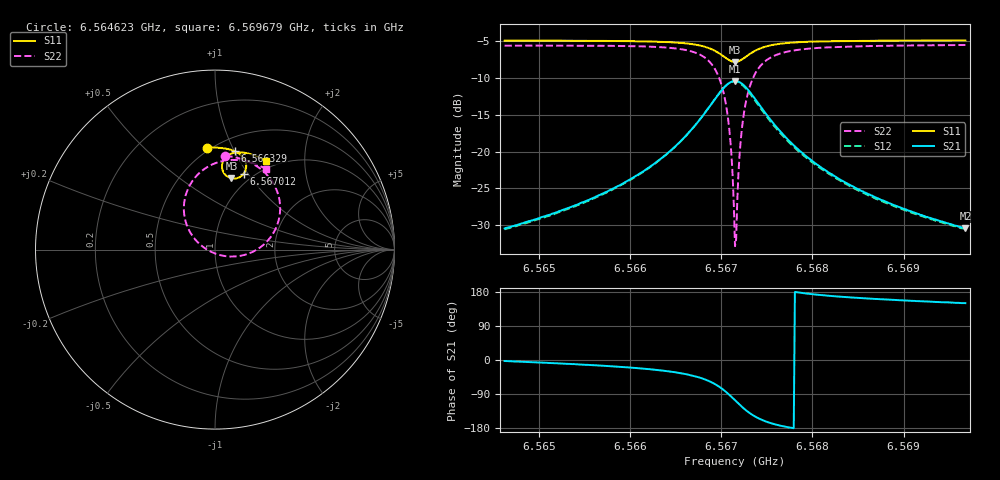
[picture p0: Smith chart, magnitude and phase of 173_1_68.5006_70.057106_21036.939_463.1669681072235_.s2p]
#  HZ  S  RI  R  50.00
! Rohde & Schwarz Vector Network Analyzer
! Rohde-Schwarz,ZNB20-2Port,1311601062101988,3.16
! Created: UTC 3/20/2024, 5:11:25 PM
! freq[Hz]  re:S11  im:S11  re:S21  im:S21  re:S12  im:S12  re:S22  im:S22
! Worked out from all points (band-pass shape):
!   401 points, 6.564623 GHz to 6.569679 GHz, reference 50 ohm
!   highest |S21| = -10.38 dB at 6.567151 GHz (marker M1); lowest = -30.4 dB at 6.569679 GHz (marker M2)
!   |S21| within 3 dB of the highest: 6.5669 GHz to 6.567404 GHz (504.2 kHz wide, 0.00768 % of centre)
!   lowest |S11| = -7.8 dB at 6.567151 GHz (marker M3), VSWR 2.38, Z = 42.4 + j40.4 ohm
!   |S11| at or under -10 dB: nowhere
!   |S22| runs from -32.9 to -5.5 dB; largest |S21 - S12| = 0.015
!   S11 on the Smith chart (normalised r, x): 6.564623 GHz: 0.48, +0.81; 6.566329 GHz: 0.63, +1.01; 6.567012 GHz: 0.90, +0.95; 6.569679 GHz: 0.90, +1.31
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6.5646231e9  -0.0423 0.5675  0.03 -0.00137  0.0295 -0.00189  0.0585 0.5227
6.5654699e9  0.0282 0.5671  0.0441 -0.00949  0.0433 -0.00993  0.1419 0.5065
6.5663168e9  0.1102 0.5483  0.0781 -0.0397  0.0771 -0.0404  0.2622 0.4432
6.5663294e9  0.1116 0.5476  0.0791 -0.0406  0.0778 -0.0416  0.2644 0.4411
6.5666075e9  0.1453 0.526  0.1015 -0.0768  0.0998 -0.0785  0.3248 0.3696
6.5668097e9  0.1692 0.4911  0.1149 -0.1382  0.1122 -0.141  0.3622 0.2514
6.5669235e9  0.1733 0.456  0.1034 -0.1992  0.0982 -0.203  0.3456 0.1351
6.567012e9  0.1596 0.4222  0.0623 -0.2571  0.0532 -0.2605  0.2702 0.0267
6.5670499e9  0.1459 0.4091  0.0311 -0.2788  0.0199 -0.2807  0.2119 -0.0117
6.5670878e9  0.1277 0.3995  -0.00864 -0.293  -0.0214 -0.2925  0.1386 -0.0352
6.5671131e9  0.1135 0.3962  -0.0385 -0.2965  -0.0518 -0.2937  0.0844 -0.0386
6.5671384e9  0.0987 0.3962  -0.0694 -0.2941  -0.0826 -0.2889  0.0296 -0.0308
6.567151e9  0.0913 0.3976  -0.0844 -0.2906  -0.0975 -0.2841  0.00282 -0.0226
6.5671763e9  0.0772 0.4025  -0.1134 -0.279  -0.1253 -0.2704  -0.0469 0.0015
6.5672016e9  0.0647 0.4102  -0.139 -0.2624  -0.1494 -0.2517  -0.0897 0.0345
6.5672395e9  0.0503 0.4258  -0.1689 -0.2307  -0.1761 -0.2185  -0.1372 0.0943
6.56729e9  0.0403 0.4494  -0.1914 -0.1839  -0.1947 -0.1714  -0.1689 0.1792
6.5673532e9  0.04 0.4769  -0.1973 -0.1303  -0.197 -0.1195  -0.17 0.2729
6.5675808e9  0.0782 0.529  -0.1508 -0.0288  -0.1474 -0.0241  -0.0663 0.4441
6.5679979e9  0.1417 0.5423  -0.0859 0.00952  -0.0839 0.0108  0.0763 0.4987
6.5688447e9  0.2236 0.5233  -0.0416 0.016  -0.0408 0.0162  0.2082 0.4827
6.5696789e9  0.2864 0.4936  -0.026 0.015  -0.0254 0.0151  0.2848 0.4489
